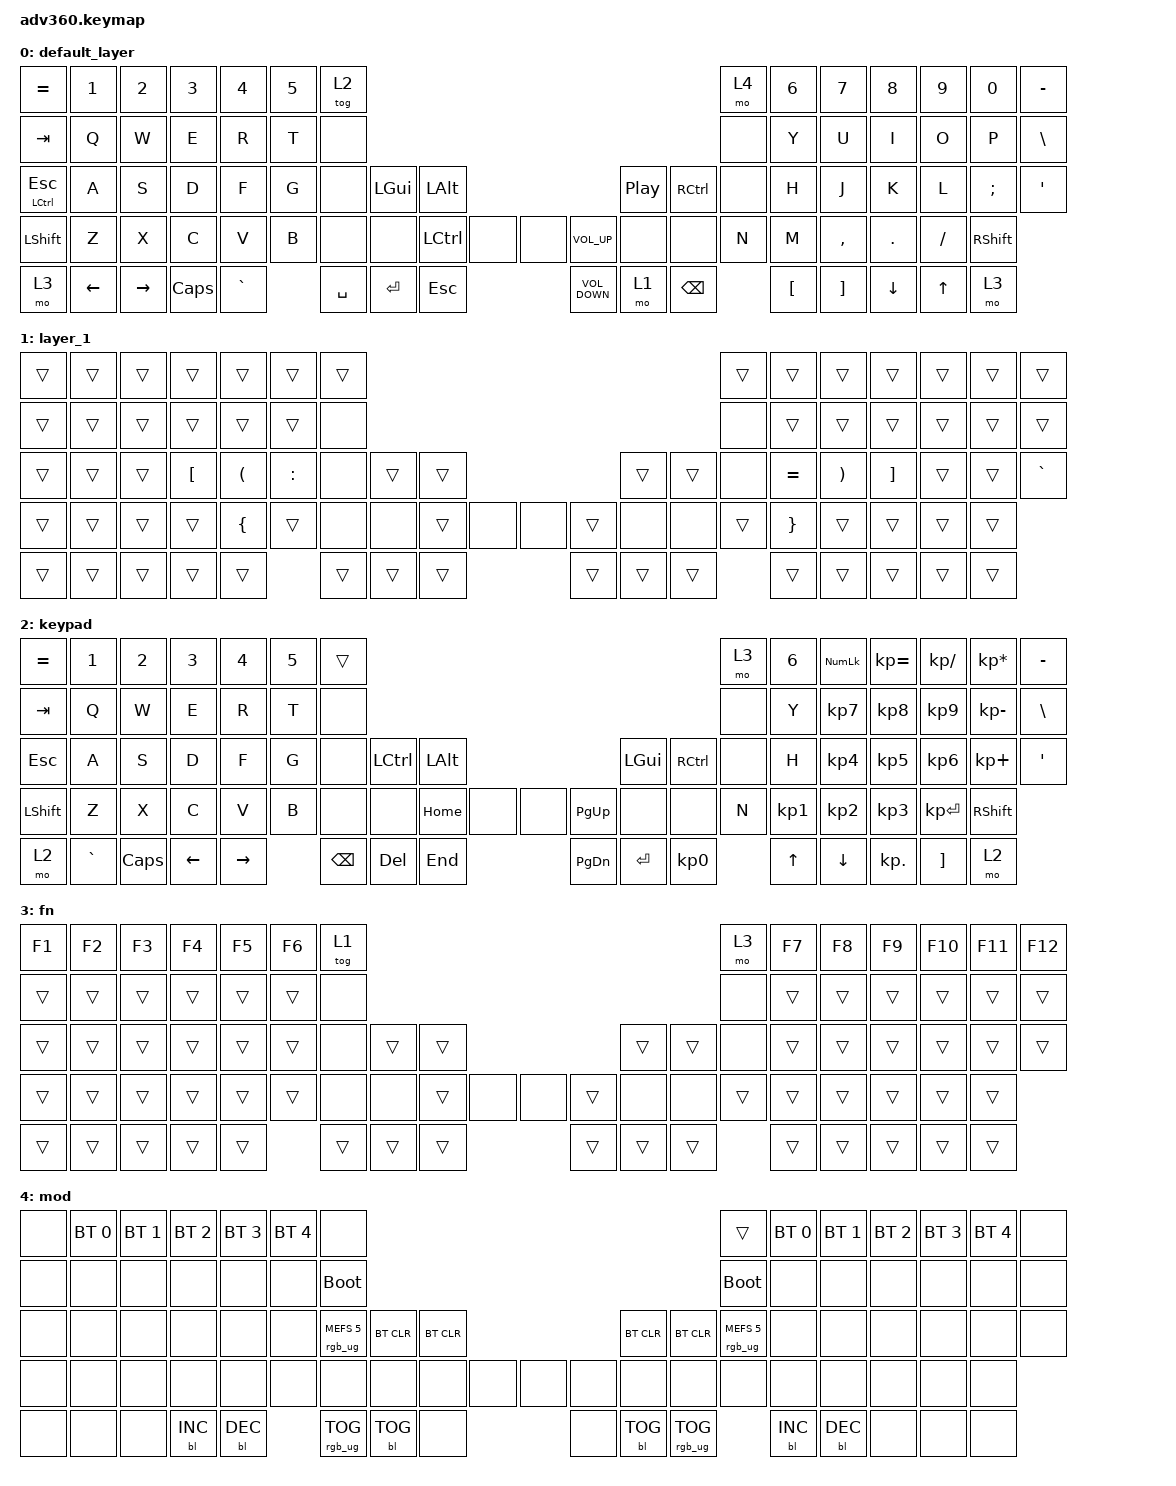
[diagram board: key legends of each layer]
#include <behaviors.dtsi>
#include <dt-bindings/zmk/keys.h>
#include <dt-bindings/zmk/bt.h>
#include <dt-bindings/zmk/rgb.h>
#include <dt-bindings/zmk/backlight.h>

/ {
    behaviors {
      #include "macros.dtsi"

      hm: homerow_mods {
          compatible = "zmk,behavior-hold-tap";
          label = "HOMEROW_MODS";
          #binding-cells = <2>;
          tapping-term-ms = <200>;
          quick_tap_ms = <175>;
          flavor = "tap-preferred";
          bindings = <&kp>, <&kp>;
      };
    };

  keymap {
    compatible = "zmk,keymap";

    default_layer {
      bindings = <
        &kp EQUAL     &kp N1   &kp N2    &kp N3   &kp N4     &kp N5 &tog 2                                                                                   &mo 4 &kp N6 &kp N7   &kp N8    &kp N9    &kp N0   &kp MINUS
        &kp TAB       &kp Q    &kp W     &kp E    &kp R      &kp T  &none                                                                                    &none &kp Y  &kp U    &kp I     &kp O     &kp P    &kp BSLH
        &mt LCTRL ESC &kp A    &kp S     &kp D    &kp F      &kp G  &none            &kp LGUI  &kp LALT              &kp C_PLAY_PAUSE    &kp RCTRL           &none &kp H  &kp J    &kp K     &kp L     &kp SEMI &kp SQT
        &kp LSHFT     &kp Z    &kp X     &kp C    &kp V      &kp B         &none     &none     &kp LCTRL &none &none &kp C_VOLUME_UP     &none     &none           &kp N  &kp M    &kp COMMA &kp DOT   &kp FSLH &kp RSHFT
        &mo 3         &kp LEFT &kp RIGHT &kp CAPS &kp GRAVE                &kp SPACE &kp ENTER &kp ESC               &kp C_VOLUME_DOWN   &mo 1     &kp BSPC               &kp LBKT &kp RBKT  &kp DOWN  &kp UP   &mo 3
      >;
    };
    layer_1 {
      bindings = <
        &trans &trans &trans &trans           &trans               &trans    &trans                                                      &trans &trans    &trans                &trans            &trans &trans &trans
        &trans &trans &trans &trans           &trans               &trans    &none                                                       &none  &trans    &trans                &trans            &trans &trans &trans
        &trans &trans &trans &kp LEFT_BRACKET &kp LEFT_PARENTHESIS &kp COLON &none        &trans &trans             &trans &trans        &none  &kp EQUAL &kp RIGHT_PARENTHESIS &kp RIGHT_BRACKET &trans &trans &kp GRAVE
        &trans &trans &trans &trans           &kp LEFT_BRACE       &trans          &none  &none  &trans &none &none &trans &none  &none         &trans    &kp RIGHT_BRACE       &trans            &trans &trans &trans
        &trans &trans &trans &trans           &trans                               &trans &trans &trans             &trans &trans &trans                  &trans                &trans            &trans &trans &trans
      >;
    };
    keypad {
      bindings = <
        &kp EQUAL &kp N1    &kp N2   &kp N3   &kp N4     &kp N5 &trans                                                                       &mo 3 &kp N6 &kp KP_NUM &kp KP_EQUAL &kp KP_DIVIDE &kp KP_MULTIPLY &kp MINUS
        &kp TAB   &kp Q     &kp W    &kp E    &kp R      &kp T  &none                                                                        &none &kp Y  &kp KP_N7  &kp KP_N8    &kp KP_N9     &kp KP_MINUS    &kp BSLH
        &kp ESC   &kp A     &kp S    &kp D    &kp F      &kp G  &none           &kp LCTRL &kp LALT             &kp LGUI  &kp RCTRL           &none &kp H  &kp KP_N4  &kp KP_N5    &kp KP_N6     &kp KP_PLUS     &kp SQT
        &kp LSHFT &kp Z     &kp X    &kp C    &kp V      &kp B         &none    &none     &kp HOME &none &none &kp PG_UP &none     &none           &kp N  &kp KP_N1  &kp KP_N2    &kp KP_N3     &kp KP_ENTER    &kp RSHFT
        &mo 2     &kp GRAVE &kp CAPS &kp LEFT &kp RIGHT                &kp BSPC &kp DEL   &kp END              &kp PG_DN &kp ENTER &kp KP_N0              &kp UP     &kp DOWN     &kp KP_DOT    &kp RBKT        &mo 2
      >;
    };
    fn {
      bindings = <
        &kp F1 &kp F2 &kp F3 &kp F4 &kp F5 &kp F6 &tog 1                                                       &mo 3 &kp F7 &kp F8 &kp F9 &kp F10 &kp F11 &kp F12
        &trans &trans &trans &trans &trans &trans  &none                                                       &none &trans &trans &trans &trans  &trans  &trans
        &trans &trans &trans &trans &trans &trans  &none        &trans &trans             &trans &trans        &none &trans &trans &trans &trans  &trans  &trans
        &trans &trans &trans &trans &trans &trans        &none  &none  &trans &none &none &trans &none  &none        &trans &trans &trans &trans  &trans  &trans
        &trans &trans &trans &trans &trans               &trans &trans &trans             &trans &trans &trans              &trans &trans &trans  &trans  &trans
      >;
    };
    mod {
      bindings = <
        &none &bt BT_SEL 0 &bt BT_SEL 1 &bt BT_SEL 2 &bt BT_SEL 3 &bt BT_SEL 4 &none                                                                                                          &trans                 &bt BT_SEL 0 &bt BT_SEL 1 &bt BT_SEL 2 &bt BT_SEL 3 &bt BT_SEL 4 &none
        &none &none        &none        &none        &none        &none        &bootloader                                                                                                    &bootloader            &none        &none        &none        &none        &none        &none
        &none &none        &none        &none        &none        &none        &rgb_ug RGB_MEFS_CMD 5                 &bt BT_CLR &bt BT_CLR             &bt BT_CLR &bt BT_CLR                 &rgb_ug RGB_MEFS_CMD 5 &none        &none        &none        &none        &none        &none
        &none &none        &none        &none        &none        &none                               &none           &none      &none      &none &none &none      &none      &none                                  &none        &none        &none        &none        &none        &none
        &none &none        &none        &bl BL_INC   &bl BL_DEC                                       &rgb_ug RGB_TOG &bl BL_TOG &none                  &none      &bl BL_TOG &rgb_ug RGB_TOG                                     &bl BL_INC   &bl BL_DEC   &none        &none        &none
      >;
    };
  };
};
